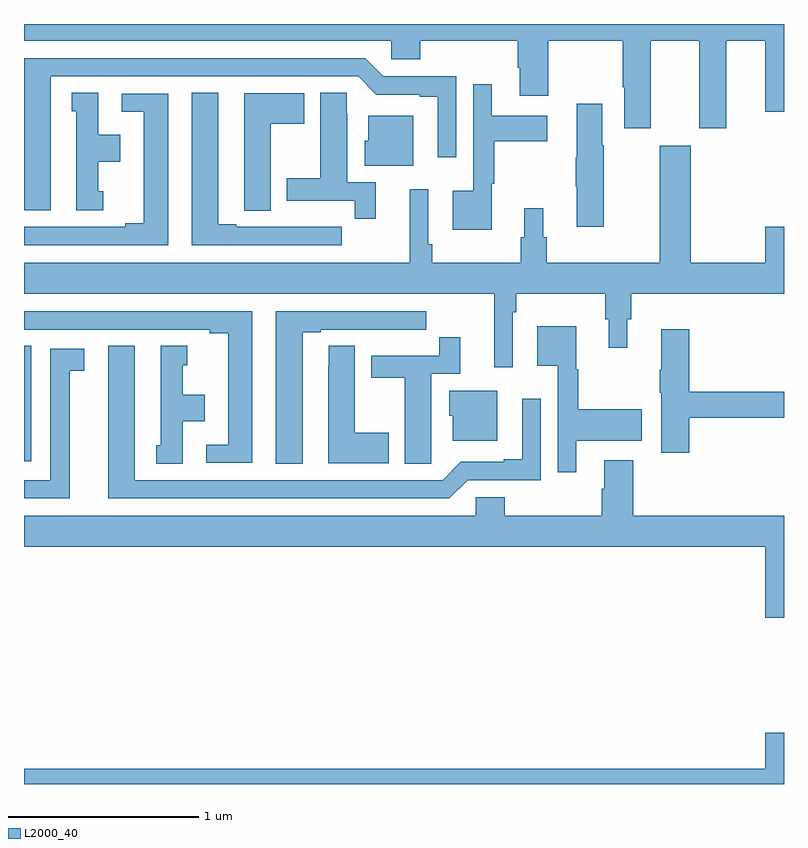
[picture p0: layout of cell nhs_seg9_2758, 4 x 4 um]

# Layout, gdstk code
import gdstk
lib = gdstk.Library(unit=1e-6, precision=1e-09)
def R(c, l, rs):  # rectangles x0, y0, x1, y1
    for r in rs: c.add(gdstk.rectangle(r[:2], r[2:], *l))
def P(c, l, *ps):  # polygons
    for p in ps: c.add(gdstk.Polygon(p, *l))
L2000_40 = (2000, 40)

nhs_seg9_2758 = lib.new_cell('nhs_seg9_2758')
R(nhs_seg9_2758, L2000_40, [(269,1202.199,269.038,1202.807)])
P(nhs_seg9_2758, L2000_40, [(272.299,1204.412),(272.555,1204.412),(272.555,1203.951),(272.695,1203.951),(272.695,1204.412),(272.9,1204.412),(272.9,1204.038),(273,1204.038),(273,1204.5),(269,1204.5),(269,1204.412),(270.933,1204.412),(270.933,1204.314),(271.085,1204.314),(271.085,1204.412),(271.598,1204.412),(271.598,1204.27),(271.61,1204.27),(271.61,1204.122),(271.758,1204.122),(271.758,1204.412),(272.152,1204.412),(272.152,1204.168),(272.159,1204.168),(272.159,1203.951),(272.299,1203.951)],
  [(269.14,1204.224),(270.759,1204.224),(270.855,1204.128),(271.082,1204.128),(271.082,1204.116),(271.178,1204.116),(271.178,1203.798),(271.275,1203.798),(271.275,1204.224),(270.891,1204.224),(270.795,1204.32),(269,1204.32),(269,1203.519),(269.14,1203.519)],
  [(271.462,1203.66),(271.474,1203.66),(271.474,1203.884),(271.753,1203.884),(271.753,1204.018),(271.462,1204.018),(271.462,1204.183),(271.365,1204.183),(271.365,1203.622),(271.256,1203.622),(271.256,1203.416),(271.462,1203.416)],
  [(269.416,1203.621),(269.392,1203.621),(269.392,1203.776),(269.506,1203.776),(269.506,1203.916),(269.392,1203.916),(269.392,1204.139),(269.252,1204.139),(269.252,1204.041),(269.276,1204.041),(269.276,1203.519),(269.416,1203.519)],
  [(270.673,1203.432),(270.56,1203.432),(270.56,1203.433),(270.394,1203.433),(270.394,1203.432),(270.118,1203.432),(270.118,1203.447),(270.022,1203.447),(270.022,1204.139),(269.882,1204.139),(269.882,1203.336),(270.673,1203.336)],
  [(270.851,1203.666),(270.7,1203.666),(270.7,1204.028),(270.699,1204.028),(270.699,1204.139),(270.56,1204.139),(270.56,1203.687),(270.383,1203.687),(270.383,1203.57),(270.742,1203.57),(270.742,1203.474),(270.851,1203.474)],
  [(270.298,1203.976),(270.475,1203.976),(270.475,1204.135),(270.158,1204.135),(270.158,1203.625),(270.159,1203.625),(270.159,1203.517),(270.298,1203.517)],
  [(269.758,1204.134),(269.514,1204.134),(269.514,1204.038),(269.63,1204.038),(269.63,1203.452),(269.534,1203.452),(269.534,1203.432),(269,1203.432),(269,1203.336),(269.758,1203.336)],
  [(272.052,1203.863),(272.044,1203.863),(272.044,1204.081),(271.91,1204.081),(271.91,1203.8),(271.903,1203.8),(271.903,1203.644),(271.91,1203.644),(271.91,1203.432),(272.052,1203.432)],
  [(271.048,1204.018),(270.812,1204.018),(270.812,1203.885),(270.794,1203.885),(270.794,1203.755),(271.048,1203.755)],
  [(272.059,1202.946),(272.078,1202.946),(272.078,1202.796),(272.176,1202.796),(272.176,1202.946),(272.195,1202.946),(272.195,1203.08),(273,1203.08),(273,1203.433),(272.9,1203.433),(272.9,1203.244),(272.509,1203.244),(272.509,1203.859),(272.345,1203.859),(272.345,1203.244),(271.751,1203.244),(271.751,1203.378),(271.732,1203.378),(271.732,1203.529),(271.634,1203.529),(271.634,1203.378),(271.615,1203.378),(271.615,1203.244),(271.148,1203.244),(271.148,1203.34),(271.128,1203.34),(271.128,1203.631),(271.031,1203.631),(271.031,1203.244),(269,1203.244),(269,1203.08),(271.475,1203.08),(271.475,1202.694),(271.572,1202.694),(271.572,1202.984),(271.592,1202.984),(271.592,1203.08),(272.059,1203.08)],
  [(270.202,1202.988),(269,1202.988),(269,1202.892),(269.978,1202.892),(269.978,1202.872),(270.074,1202.872),(270.074,1202.286),(269.958,1202.286),(269.958,1202.19),(270.202,1202.19)],
  [(270.466,1202.877),(270.562,1202.877),(270.562,1202.892),(270.838,1202.892),(270.838,1202.891),(271.004,1202.891),(271.004,1202.892),(271.117,1202.892),(271.117,1202.988),(270.326,1202.988),(270.326,1202.185),(270.466,1202.185)],
  [(271.906,1202.306),(272.251,1202.306),(272.251,1202.472),(271.918,1202.472),(271.918,1202.682),(271.906,1202.682),(271.906,1202.908),(271.7,1202.908),(271.7,1202.702),(271.809,1202.702),(271.809,1202.142),(271.906,1202.142)],
  [(272.501,1202.428),(273,1202.428),(273,1202.564),(272.501,1202.564),(272.501,1202.893),(272.354,1202.893),(272.354,1202.68),(272.347,1202.68),(272.347,1202.56),(272.354,1202.56),(272.354,1202.244),(272.501,1202.244)],
  [(271.143,1202.296),(271.144,1202.296),(271.144,1202.658),(271.295,1202.658),(271.295,1202.851),(271.186,1202.851),(271.186,1202.754),(270.827,1202.754),(270.827,1202.638),(271.004,1202.638),(271.004,1202.185),(271.143,1202.185)],
  [(270.919,1202.349),(270.742,1202.349),(270.742,1202.807),(270.603,1202.807),(270.603,1202.699),(270.602,1202.699),(270.602,1202.189),(270.919,1202.189)],
  [(271.335,1202.1),(271.719,1202.1),(271.719,1202.527),(271.622,1202.527),(271.622,1202.209),(271.526,1202.209),(271.526,1202.196),(271.299,1202.196),(271.203,1202.1),(269.584,1202.1),(269.584,1202.806),(269.444,1202.806),(269.444,1202.004),(271.239,1202.004)],
  [(269.836,1202.408),(269.95,1202.408),(269.95,1202.548),(269.836,1202.548),(269.836,1202.703),(269.86,1202.703),(269.86,1202.806),(269.72,1202.806),(269.72,1202.283),(269.696,1202.283),(269.696,1202.185),(269.836,1202.185)],
  [(269.242,1202.674),(269.317,1202.674),(269.317,1202.79),(269.138,1202.79),(269.138,1202.1),(269,1202.1),(269,1202.004),(269.242,1202.004)],
  [(271.492,1202.569),(271.238,1202.569),(271.238,1202.439),(271.256,1202.439),(271.256,1202.306),(271.492,1202.306)],
  [(273,1201.912),(272.207,1201.912),(272.207,1202.203),(272.054,1202.203),(272.054,1202.054),(272.042,1202.054),(272.042,1201.912),(271.529,1201.912),(271.529,1202.01),(271.377,1202.01),(271.377,1201.912),(269,1201.912),(269,1201.748),(272.9,1201.748),(272.9,1201.374),(273,1201.374)],
  [(273,1200.769),(272.9,1200.769),(272.9,1200.58),(269,1200.58),(269,1200.5),(273,1200.5)])

lib.write_gds('nhs_seg9_2758.gds')
